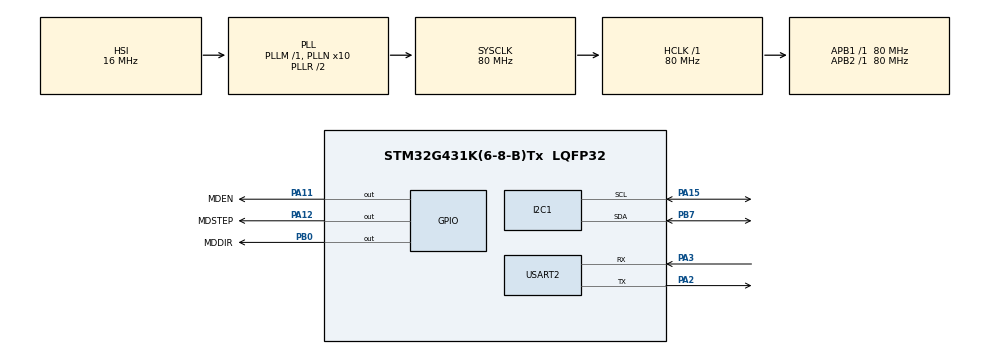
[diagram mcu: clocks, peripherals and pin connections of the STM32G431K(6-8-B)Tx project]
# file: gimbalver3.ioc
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I2C1.Timing=0x10D19CE4
Mcu.Family=STM32G4
Mcu.Name=STM32G431K(6-8-B)Tx
Mcu.Package=LQFP32
NVIC.PriorityGroup=NVIC_PRIORITYGROUP_4
NVIC.TIM4_IRQn=true\:0\:0\:false\:false\:true\:true\:true\:true
NVIC.TIM6_DAC_IRQn=true\:0\:0\:false\:false\:true\:true\:true\:true
NVIC.TIM7_IRQn=true\:0\:0\:false\:false\:true\:true\:true\:true
PA11.GPIO_Label=MDEN
PA11.Signal=GPIO_Output
PA12.GPIO_Label=MDSTEP
PA12.Signal=GPIO_Output
PA15.GPIO_Pu=GPIO_PULLUP
PA15.Mode=I2C
PA15.Signal=I2C1_SCL
PA2.Mode=Asynchronous
PA2.Signal=USART2_TX
PA3.Mode=Asynchronous
PA3.Signal=USART2_RX
PB0.GPIO_Label=MDDIR
PB0.Signal=GPIO_Output
PB7.GPIO_Pu=GPIO_PULLUP
PB7.Mode=I2C
PB7.Signal=I2C1_SDA
ProjectManager.HeapSize=0x200
ProjectManager.StackSize=0x400
ProjectManager.TargetToolchain=STM32CubeIDE
RCC.ADC12Freq_Value=80000000
RCC.AHBFreq_Value=80000000
RCC.APB1Freq_Value=80000000
RCC.APB1TimFreq_Value=80000000
RCC.APB2Freq_Value=80000000
RCC.APB2TimFreq_Value=80000000
RCC.CortexFreq_Value=80000000
RCC.EXTERNAL_CLOCK_VALUE=12288000
RCC.HCLKFreq_Value=80000000
RCC.HSE_VALUE=8000000
RCC.HSI48_VALUE=48000000
RCC.HSI_VALUE=16000000
RCC.LSE_VALUE=32768
RCC.PLLN=10
RCC.SYSCLKFreq_VALUE=80000000
RCC.SYSCLKSource=RCC_SYSCLKSOURCE_PLLCLK
RCC.USBFreq_Value=80000000
RCC.VCOOutputFreq_Value=160000000
TIM4.PeriodNoDither=99
TIM4.Prescaler=7999
TIM6.PeriodNoDither=9
TIM6.Prescaler=7999
TIM7.Prescaler=7999
USART2.VirtualMode-Asynchronous=VM_ASYNC
VP_SYS_VS_DBSignals.Mode=DisableDeadBatterySignals
VP_TIM4_VS_ClockSourceINT.Mode=Internal
VP_TIM6_VS_ClockSourceINT.Mode=Enable_Timer
VP_TIM7_VS_ClockSourceINT.Mode=Enable_Timer
board=custom

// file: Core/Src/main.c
/* USER CODE BEGIN Header */
/**
  ******************************************************************************
  * @file           : main.c
  * @brief          : Main program body
  ******************************************************************************
  * @attention
  *
  * Copyright (c) 2025 STMicroelectronics.
  * All rights reserved.
  *
  * This software is licensed under terms that can be found in the LICENSE file
  * in the root directory of this software component.
  * If no LICENSE file comes with this software, it is provided AS-IS.
  *
  ******************************************************************************
  */
/* USER CODE END Header */
#include "main.h"

/* USER CODE BEGIN Includes */
#include <stdio.h>
#include <string.h>
#include "BNO055.h"
#include <stdlib.h>
/* USER CODE END Includes */

/* USER CODE BEGIN PD */
#define onepulse_motorangle 0.9
/* USER CODE END PD */

I2C_HandleTypeDef hi2c1;

TIM_HandleTypeDef htim4;
TIM_HandleTypeDef htim6;
TIM_HandleTypeDef htim7;

UART_HandleTypeDef huart2;

/* USER CODE BEGIN PV */
float Gyr_x;
float Gyr_y;
float Gyr_z;

float pre_z;
float now_z;
int bnoemergency = 0;

int stepState = 0; //0:reset 1:set
uint16_t stepInterval;
uint16_t mInterval = 100;

float mangle = 0;
float tangle = 0;

int mdir = 1;
int ms = 1;
int tim7init = 0;
int stopState = 0;

float cangle = 0;

int state  =0;

/* USER CODE END PV */

void SystemClock_Config(void);
static void MX_GPIO_Init(void);
static void MX_I2C1_Init(void);
static void MX_USART2_UART_Init(void);
static void MX_TIM4_Init(void);
static void MX_TIM6_Init(void);
static void MX_TIM7_Init(void);

/* USER CODE BEGIN 0 */
void A4988_STEP(uint16_t interval){
	if(stopState == 0){
		return ;
	}
	if(stepState == 0){
		if(stepInterval != interval - 1){
			stepInterval = interval - 1;
			__HAL_TIM_SET_AUTORELOAD(&htim7, stepInterval);
		}
		  HAL_GPIO_WritePin(MDSTEP_GPIO_Port,MDSTEP_Pin,GPIO_PIN_RESET);
		  HAL_GPIO_TogglePin(MDSTEP_GPIO_Port, MDSTEP_Pin);
		stepState = 1;
	}else{
		HAL_GPIO_WritePin(MDSTEP_GPIO_Port,MDSTEP_Pin,GPIO_PIN_RESET);
		stepState = 0;
		mangle += onepulse_motorangle*mdir/ms;
		//printf("onepulse");
	}

}

void HAL_TIM_PeriodElapsedCallback(TIM_HandleTypeDef *htim){
	if(htim == &htim4){
        BNO055_ReadGyr(&Gyr_x, &Gyr_y, &Gyr_z);
        //printf("%f , %f , %f\r\n",Gyr_x,Gyr_y,Gyr_z); // @suppress("Float formatting support")
        if(Gyr_z == now_z){
        	bnoemergency++;
        }else{
        	bnoemergency = 0;
        }
        if(bnoemergency == 10){
        	//HAL_UART_Transmit(&huart1,reset_buffer,sizeof(reset_buffer),0xFFFF);
        	HAL_NVIC_SystemReset();
        	bnoemergency = 0;
        }
        pre_z = now_z;
        now_z = Gyr_z;
        tangle += (now_z + Gyr_z) * 0.01 * 0.5;
        //printf("%f\r\n",tangle);
	}
    if(htim == &htim6){
        float diffangle = tangle - mangle;
        if((diffangle < (onepulse_motorangle/ms)*5) && (diffangle > -(onepulse_motorangle/ms)*5) ){
        	diffangle = 0;
        }
        int step = diffangle / (onepulse_motorangle / ms);
        //printf("%f\r\n",diffangle);

        if (step < 0) {
            mdir = -1;
            HAL_GPIO_WritePin(MDDIR_GPIO_Port, MDDIR_Pin, GPIO_PIN_SET);
            step = -step;
        } else if (step > 0) {
            mdir = 1;
            HAL_GPIO_WritePin(MDDIR_GPIO_Port, MDDIR_Pin, GPIO_PIN_RESET);
        }

        if (step > 0) {
            mInterval = 100 / step;
            stopState = 1;
        } else {
            mInterval = 100; // ゼロ除算防止
            stopState = 0;
        }
        if(mInterval < 34){
        	mInterval = 34;
        }

        if (tim7init == 0) {
            HAL_TIM_Base_Start_IT(&htim7);
            tim7init = 1;
        }
        //printf("%f,%f\r\n",tangle,mangle);
    }

    if(htim == &htim7){
    	//printf("tim7\r\n");
        A4988_STEP(mInterval);
    }
}

int _write(int file, char *ptr, int len)
{
  HAL_UART_Transmit(&huart2,(uint8_t *)ptr,len,10);
  return len;
}

/* USER CODE END 0 */

int main(void)
{

  /* USER CODE BEGIN 1 */
	setbuf(stdout, NULL);
  /* USER CODE END 1 */

  /* MCU Configuration--------------------------------------------------------*/

  /* Reset of all peripherals, Initializes the Flash interface and the Systick. */
  HAL_Init();

  /* Configure the system clock */
  SystemClock_Config();

  /* Initialize all configured peripherals */
  MX_GPIO_Init();
  MX_I2C1_Init();
  MX_USART2_UART_Init();
  MX_TIM4_Init();
  MX_TIM6_Init();
  MX_TIM7_Init();
  /* USER CODE BEGIN 2 */
  if(BNO055_Initialize_Fusion() == false){
	  printf("false");
  }else{
	  printf("Ok");
  }
  HAL_TIM_Base_Start_IT(&htim6);
  HAL_TIM_Base_Start_IT(&htim4);
  HAL_TIM_Base_Start_IT(&htim7);
  HAL_GPIO_WritePin(MDDIR_GPIO_Port, MDDIR_Pin, GPIO_PIN_RESET);
  /* USER CODE END 2 */

  /* Infinite loop */
  while (1)
  {

    /* USER CODE BEGIN 3 */
//	  BNO055_ReadGyr(&x,&y,&z);
//	  printf("%f , %f , %f\r\n",x,y,z); // @suppress("Float formatting support")
	  //printf("Hello\r\n");
	  //printf("a:%f\r\n",tangle);
	  printf("%f,%f\r\n",tangle,mangle);
	  HAL_Delay(500);
  }
  /* USER CODE END 3 */
}

void SystemClock_Config(void)
{
  RCC_OscInitTypeDef RCC_OscInitStruct = {0};
  RCC_ClkInitTypeDef RCC_ClkInitStruct = {0};

  /** Configure the main internal regulator output voltage
  */
  HAL_PWREx_ControlVoltageScaling(PWR_REGULATOR_VOLTAGE_SCALE1);

  /** Initializes the RCC Oscillators according to the specified parameters
  * in the RCC_OscInitTypeDef structure.
  */
  RCC_OscInitStruct.OscillatorType = RCC_OSCILLATORTYPE_HSI;
  RCC_OscInitStruct.HSIState = RCC_HSI_ON;
  RCC_OscInitStruct.HSICalibrationValue = RCC_HSICALIBRATION_DEFAULT;
  RCC_OscInitStruct.PLL.PLLState = RCC_PLL_ON;
  RCC_OscInitStruct.PLL.PLLSource = RCC_PLLSOURCE_HSI;
  RCC_OscInitStruct.PLL.PLLM = RCC_PLLM_DIV1;
  RCC_OscInitStruct.PLL.PLLN = 10;
  RCC_OscInitStruct.PLL.PLLP = RCC_PLLP_DIV2;
  RCC_OscInitStruct.PLL.PLLQ = RCC_PLLQ_DIV2;
  RCC_OscInitStruct.PLL.PLLR = RCC_PLLR_DIV2;
  if (HAL_RCC_OscConfig(&RCC_OscInitStruct) != HAL_OK)
  {
    Error_Handler();
  }

  /** Initializes the CPU, AHB and APB buses clocks
  */
  RCC_ClkInitStruct.ClockType = RCC_CLOCKTYPE_HCLK|RCC_CLOCKTYPE_SYSCLK
                              |RCC_CLOCKTYPE_PCLK1|RCC_CLOCKTYPE_PCLK2;
  RCC_ClkInitStruct.SYSCLKSource = RCC_SYSCLKSOURCE_PLLCLK;
  RCC_ClkInitStruct.AHBCLKDivider = RCC_SYSCLK_DIV1;
  RCC_ClkInitStruct.APB1CLKDivider = RCC_HCLK_DIV1;
  RCC_ClkInitStruct.APB2CLKDivider = RCC_HCLK_DIV1;

  if (HAL_RCC_ClockConfig(&RCC_ClkInitStruct, FLASH_LATENCY_2) != HAL_OK)
  {
    Error_Handler();
  }
}

static void MX_I2C1_Init(void)
{

  hi2c1.Instance = I2C1;
  hi2c1.Init.Timing = 0x10D19CE4;
  hi2c1.Init.OwnAddress1 = 0;
  hi2c1.Init.AddressingMode = I2C_ADDRESSINGMODE_7BIT;
  hi2c1.Init.DualAddressMode = I2C_DUALADDRESS_DISABLE;
  hi2c1.Init.OwnAddress2 = 0;
  hi2c1.Init.OwnAddress2Masks = I2C_OA2_NOMASK;
  hi2c1.Init.GeneralCallMode = I2C_GENERALCALL_DISABLE;
  hi2c1.Init.NoStretchMode = I2C_NOSTRETCH_DISABLE;
  if (HAL_I2C_Init(&hi2c1) != HAL_OK)
  {
    Error_Handler();
  }

  /** Configure Analogue filter
  */
  if (HAL_I2CEx_ConfigAnalogFilter(&hi2c1, I2C_ANALOGFILTER_ENABLE) != HAL_OK)
  {
    Error_Handler();
  }

  /** Configure Digital filter
  */
  if (HAL_I2CEx_ConfigDigitalFilter(&hi2c1, 0) != HAL_OK)
  {
    Error_Handler();
  }

}

static void MX_TIM4_Init(void)
{

  TIM_ClockConfigTypeDef sClockSourceConfig = {0};
  TIM_MasterConfigTypeDef sMasterConfig = {0};

  htim4.Instance = TIM4;
  htim4.Init.Prescaler = 7999;
  htim4.Init.CounterMode = TIM_COUNTERMODE_UP;
  htim4.Init.Period = 99;
  htim4.Init.ClockDivision = TIM_CLOCKDIVISION_DIV1;
  htim4.Init.AutoReloadPreload = TIM_AUTORELOAD_PRELOAD_DISABLE;
  if (HAL_TIM_Base_Init(&htim4) != HAL_OK)
  {
    Error_Handler();
  }
  sClockSourceConfig.ClockSource = TIM_CLOCKSOURCE_INTERNAL;
  if (HAL_TIM_ConfigClockSource(&htim4, &sClockSourceConfig) != HAL_OK)
  {
    Error_Handler();
  }
  sMasterConfig.MasterOutputTrigger = TIM_TRGO_RESET;
  sMasterConfig.MasterSlaveMode = TIM_MASTERSLAVEMODE_DISABLE;
  if (HAL_TIMEx_MasterConfigSynchronization(&htim4, &sMasterConfig) != HAL_OK)
  {
    Error_Handler();
  }

}

static void MX_TIM6_Init(void)
{

  TIM_MasterConfigTypeDef sMasterConfig = {0};

  htim6.Instance = TIM6;
  htim6.Init.Prescaler = 7999;
  htim6.Init.CounterMode = TIM_COUNTERMODE_UP;
  htim6.Init.Period = 9;
  htim6.Init.AutoReloadPreload = TIM_AUTORELOAD_PRELOAD_DISABLE;
  if (HAL_TIM_Base_Init(&htim6) != HAL_OK)
  {
    Error_Handler();
  }
  sMasterConfig.MasterOutputTrigger = TIM_TRGO_RESET;
  sMasterConfig.MasterSlaveMode = TIM_MASTERSLAVEMODE_DISABLE;
  if (HAL_TIMEx_MasterConfigSynchronization(&htim6, &sMasterConfig) != HAL_OK)
  {
    Error_Handler();
  }

}

static void MX_TIM7_Init(void)
{

  TIM_MasterConfigTypeDef sMasterConfig = {0};

  htim7.Instance = TIM7;
  htim7.Init.Prescaler = 7999;
  htim7.Init.CounterMode = TIM_COUNTERMODE_UP;
  htim7.Init.Period = 65535;
  htim7.Init.AutoReloadPreload = TIM_AUTORELOAD_PRELOAD_DISABLE;
  if (HAL_TIM_Base_Init(&htim7) != HAL_OK)
  {
    Error_Handler();
  }
  sMasterConfig.MasterOutputTrigger = TIM_TRGO_RESET;
  sMasterConfig.MasterSlaveMode = TIM_MASTERSLAVEMODE_DISABLE;
  if (HAL_TIMEx_MasterConfigSynchronization(&htim7, &sMasterConfig) != HAL_OK)
  {
    Error_Handler();
  }

}

static void MX_USART2_UART_Init(void)
{

  huart2.Instance = USART2;
  huart2.Init.BaudRate = 115200;
  huart2.Init.WordLength = UART_WORDLENGTH_8B;
  huart2.Init.StopBits = UART_STOPBITS_1;
  huart2.Init.Parity = UART_PARITY_NONE;
  huart2.Init.Mode = UART_MODE_TX_RX;
  huart2.Init.HwFlowCtl = UART_HWCONTROL_NONE;
  huart2.Init.OverSampling = UART_OVERSAMPLING_16;
  huart2.Init.OneBitSampling = UART_ONE_BIT_SAMPLE_DISABLE;
  huart2.Init.ClockPrescaler = UART_PRESCALER_DIV1;
  huart2.AdvancedInit.AdvFeatureInit = UART_ADVFEATURE_NO_INIT;
  if (HAL_UART_Init(&huart2) != HAL_OK)
  {
    Error_Handler();
  }
  if (HAL_UARTEx_SetTxFifoThreshold(&huart2, UART_TXFIFO_THRESHOLD_1_8) != HAL_OK)
  {
    Error_Handler();
  }
  if (HAL_UARTEx_SetRxFifoThreshold(&huart2, UART_RXFIFO_THRESHOLD_1_8) != HAL_OK)
  {
    Error_Handler();
  }
  if (HAL_UARTEx_DisableFifoMode(&huart2) != HAL_OK)
  {
    Error_Handler();
  }

}

static void MX_GPIO_Init(void)
{
  GPIO_InitTypeDef GPIO_InitStruct = {0};

  /* GPIO Ports Clock Enable */
  __HAL_RCC_GPIOA_CLK_ENABLE();
  __HAL_RCC_GPIOB_CLK_ENABLE();

  /*Configure GPIO pin Output Level */
  HAL_GPIO_WritePin(MDDIR_GPIO_Port, MDDIR_Pin, GPIO_PIN_RESET);

  /*Configure GPIO pin Output Level */
  HAL_GPIO_WritePin(GPIOA, MDEN_Pin|MDSTEP_Pin, GPIO_PIN_RESET);

  /*Configure GPIO pin : MDDIR_Pin */
  GPIO_InitStruct.Pin = MDDIR_Pin;
  GPIO_InitStruct.Mode = GPIO_MODE_OUTPUT_PP;
  GPIO_InitStruct.Pull = GPIO_NOPULL;
  GPIO_InitStruct.Speed = GPIO_SPEED_FREQ_LOW;
  HAL_GPIO_Init(MDDIR_GPIO_Port, &GPIO_InitStruct);

  /*Configure GPIO pins : MDEN_Pin MDSTEP_Pin */
  GPIO_InitStruct.Pin = MDEN_Pin|MDSTEP_Pin;
  GPIO_InitStruct.Mode = GPIO_MODE_OUTPUT_PP;
  GPIO_InitStruct.Pull = GPIO_NOPULL;
  GPIO_InitStruct.Speed = GPIO_SPEED_FREQ_LOW;
  HAL_GPIO_Init(GPIOA, &GPIO_InitStruct);

}

void Error_Handler(void)
{
  __disable_irq();
  while (1)
  {
  }
}
